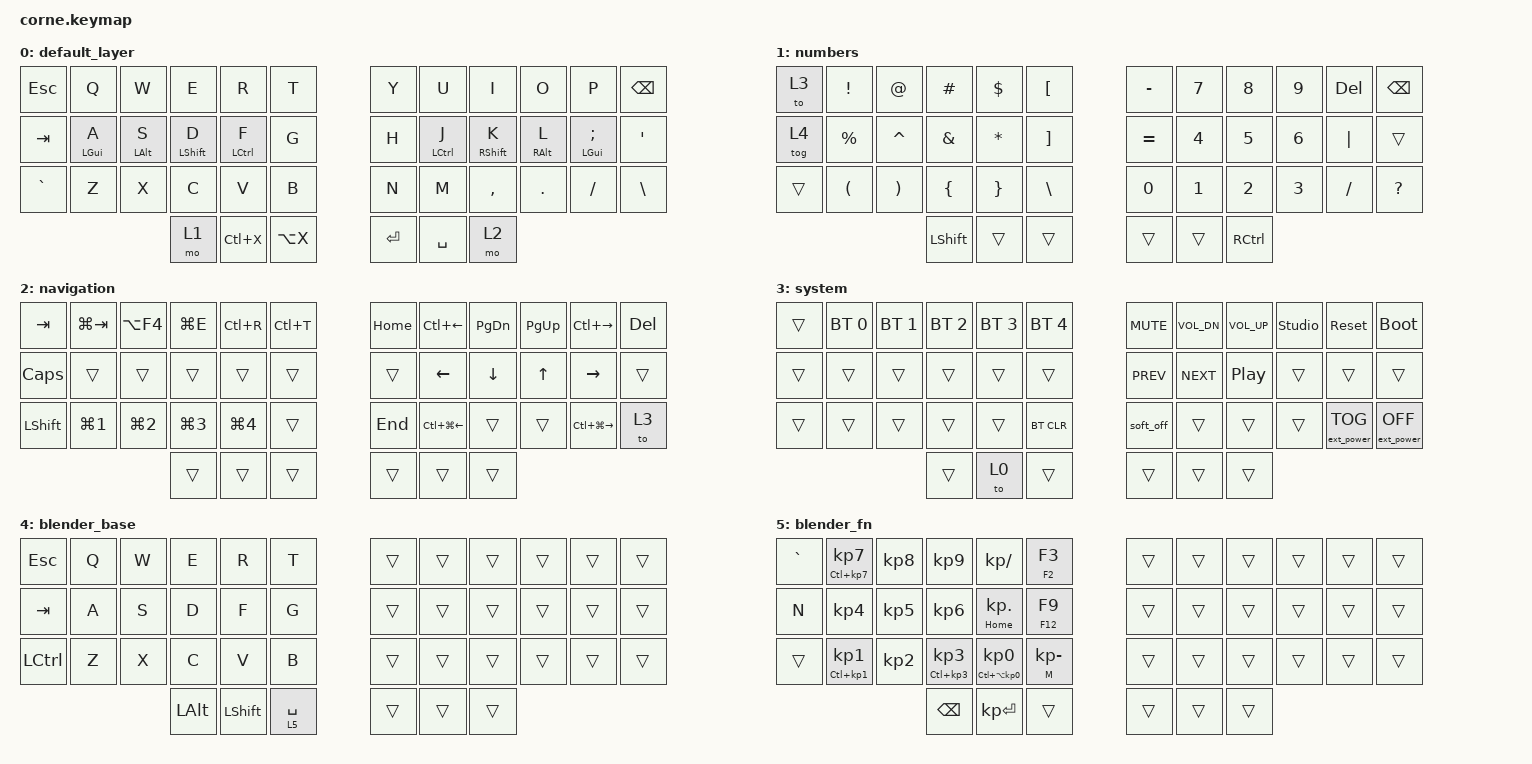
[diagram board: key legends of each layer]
/*
* Copyright (c) 2020 The ZMK Contributors
*
* SPDX-License-Identifier: MIT
*/

#include <behaviors.dtsi>
#include <dt-bindings/zmk/bt.h>
#include <dt-bindings/zmk/ext_power.h>
#include <dt-bindings/zmk/keys.h>

/ {
    behaviors {
        // Balanced homerow mods

        hm: homerow_mods {
            compatible = "zmk,behavior-hold-tap";
            label = "HOMEROW_MODS";
            #binding-cells = <2>;
            tapping-term-ms = <300>;
            quick-tap-ms = <175>;
            flavor = "balanced";
            bindings = <&kp>, <&kp>;
        };

        // Balanced layer-tap for Blender fn layer (instant hold when rolling into numpad/views)

        blt: blender_layer_tap {
            compatible = "zmk,behavior-hold-tap";
            #binding-cells = <2>;
            tapping-term-ms = <200>;
            quick-tap-ms = <150>;
            flavor = "balanced";
            bindings = <&mo>, <&kp>;
        };

        // Tap-preferred hold-tap for Blender views (tap = primary/numpad, hold = opposite/secondary)

        bv: blender_view {
            compatible = "zmk,behavior-hold-tap";
            #binding-cells = <2>;
            tapping-term-ms = <200>;
            quick-tap-ms = <150>;
            flavor = "tap-preferred";
            bindings = <&kp>, <&kp>;
        };

        // Layer cycling tap dance: 0→1→2→3→4→0
        /* layer_td: layer_tap_dance { */
        /*     compatible = "zmk,behavior-tap-dance"; */
        /*     label = "LAYER_TAP_DANCE"; */
        /*     #binding-cells = <0>; */
        /*     tapping-term-ms = <300>; */
        /*     bindings = <&to 1>, <&to 2>, <&to 3>, <&to 4>, <&to 0>; */
        /* }; */
    };

    combos {
        compatible = "zmk,combos";

        // Toggle Blender mode one-handed from Default or Blender Base (ESC + Q)

        combo_blender_toggle {
            timeout-ms = <40>;
            key-positions = <0 1>;
            layers = <0 4>;
            bindings = <&tog 4>;
        };

        // Blender-only left-hand combos (active only on Layer 4: blender_base)

        combo_bl_vtx {
            timeout-ms = <40>;
            key-positions = <2 3>;  // W + E -> Vertex Select
            layers = <4>;
            bindings = <&kp N1>;
        };

        combo_bl_edge {
            timeout-ms = <40>;
            key-positions = <3 4>;  // E + R -> Edge Select
            layers = <4>;
            bindings = <&kp N2>;
        };

        combo_bl_face {
            timeout-ms = <40>;
            key-positions = <4 5>;  // R + T -> Face Select
            layers = <4>;
            bindings = <&kp N3>;
        };

        combo_bl_enter {
            timeout-ms = <40>;
            key-positions = <15 16>;  // D + F -> Confirm
            layers = <4>;
            bindings = <&kp ENTER>;
        };

        combo_bl_merge {
            timeout-ms = <40>;
            key-positions = <16 17>;  // F + G -> Merge / Move to Collection
            layers = <4>;
            bindings = <&kp M>;
        };

        combo_bl_undo {
            timeout-ms = <40>;
            key-positions = <25 26>;  // Z + X -> Undo
            layers = <4>;
            bindings = <&kp LC(Z)>;
        };

        combo_bl_redo {
            timeout-ms = <40>;
            key-positions = <26 27>;  // X + C -> Redo
            layers = <4>;
            bindings = <&kp LC(LS(Z))>;
        };

        combo_bl_y {
            timeout-ms = <40>;
            key-positions = <27 28>;  // C + V -> Y-Axis
            layers = <4>;
            bindings = <&kp Y>;
        };

        combo_bl_hide {
            timeout-ms = <40>;
            key-positions = <28 29>;  // V + B -> Hide
            layers = <4>;
            bindings = <&kp H>;
        };
    };

    keymap {
        compatible = "zmk,keymap";

        default_layer {
            // -----------------------------------------------------------------------------------------
            // |  ESC |  Q  |  W  |  E  |  R  |  T  |   |  Y  |  U   |  I  |  O  |  P  | BSPC |
            // | TAB  | A/LCTRL | S/LALT | D/LSHFT | F/LGUI | G |   | H | J/RGUI | K/RSHFT | L/RALT | ;/RCTRL | ' |
            // | CTRL |  Z  |  X  |  C  |  V  |  B  |   |  N  |  M   |  ,  |  .  |  /  | ` |
            //                    | DEL | LYR | SPC |   | RET | ALT  | CTL |

            bindings = <
&kp ESCAPE  &kp Q           &kp W           &kp E        &kp R               &kp T        &kp Y      &kp U               &kp I        &kp O       &kp P              &kp BACKSPACE
&kp TAB     &hm LEFT_GUI A  &hm LEFT_ALT S  &hm LSHFT D  &hm LEFT_CONTROL F  &kp G        &kp H      &hm LEFT_CONTROL J  &hm RSHFT K  &hm RALT L  &hm LEFT_GUI SEMI  &kp SINGLE_QUOTE
&kp GRAVE   &kp Z           &kp X           &kp C        &kp V               &kp B        &kp N      &kp M               &kp COMMA    &kp DOT     &kp FSLH           &kp BACKSLASH
                                            &mo 1        &kp LC(X)           &kp LA(X)    &kp ENTER  &kp SPACE           &mo 2
            >;
        };

        numbers {
            // -----------------------------------------------------------------------------------------
            // |  `   |  !  |  @  |  #  |  $  |  %  |   |  ^  |  &  |  *  |  (  |  )  |  -   |
            // |  -   |  1  |  2  |  3  |  4  |  5  |   |  6  |  7  |  8  |  9  |  0  |  =   |
            // | SHFT |  [  |  ]  |  {  |  }  |  \  |   |  -  |  _  |  +  |  |  |  /  |  ?   |
            //                    |  -  | LYR |  -  |   |  -  |  -  |  -  |

            bindings = <
&to 3   &kp EXCLAMATION       &kp AT_SIGN            &kp POUND       &kp DOLLAR       &kp LEFT_BRACKET     &kp MINUS  &kp N7        &kp N8        &kp N9        &kp DELETE  &kp BACKSPACE
&tog 4  &kp PERCENT           &kp CARET              &kp AMPERSAND   &kp ASTERISK     &kp RIGHT_BRACKET    &kp EQUAL  &kp NUMBER_4  &kp N5        &kp NUMBER_6  &kp PIPE    &trans
&trans  &kp LEFT_PARENTHESIS  &kp RIGHT_PARENTHESIS  &kp LEFT_BRACE  &kp RIGHT_BRACE  &kp BACKSLASH        &kp N0     &kp NUMBER_1  &kp NUMBER_2  &kp NUMBER_3  &kp FSLH    &kp QUESTION
                                                     &kp LEFT_SHIFT  &trans           &trans               &trans     &trans        &kp RCTRL
            >;
        };

        navigation {
            // -----------------------------------------------------------------------------------------
            // | TAB  |CMD+TAB| ALT+F4| WIN+E| WIN+R | WIN+T|   |PGUP | HOME|  UP  | END  | PRNT | DEL  |
            // |CAPS  | WIN+1 | WIN+2 | WIN+3| WIN+4 | WIN+G|   |PGDN | LEFT| DOWN |RIGHT | WIN↑ | WIN↵ |
            // |SHIFT | UNDO  | CUT   | COPY | PASTE | WIN+L|   |WIN← |CTRL←|CTRL→ |WIN→  | ALT← | ALT→ |
            //                        |  -  | LYR   |  -   |   |  -  |  -  |  -   |

            bindings = <
&kp TAB    &kp LG(TAB)       &kp LA(F4)        &kp LG(E)         &kp LC(R)         &kp LC(T)    &kp HOME  &kp LC(LEFT)      &kp PAGE_DOWN   &kp PAGE_UP   &kp LC(RIGHT)      &kp DELETE
&kp CAPS   &trans            &trans            &trans            &trans            &trans       &trans    &kp LEFT_ARROW    &kp DOWN_ARROW  &kp UP_ARROW  &kp RIGHT          &trans
&kp LSHFT  &kp LG(NUMBER_1)  &kp LG(NUMBER_2)  &kp LG(NUMBER_3)  &kp LG(NUMBER_4)  &trans       &kp END   &kp LC(LG(LEFT))  &trans          &trans        &kp LC(LG(RIGHT))  &to 3
                                               &trans            &trans            &trans       &trans    &trans            &trans
            >;
        };

        system {
            // -----------------------------------------------------------------------------------------
            // |      | BT1 | BT2 | BT3 | BT4 | BT5 |   |MUTE |VOL- |VOL+ |UNLOCK|RESET |BOOTLD|
            // |      |RGBBR+|RGBBR-|RGBHU+|RGBHU-|RGBSA+|PREV |NEXT |PLAY |RGBSA-|RGBEF+|RGBEF-|
            // |      |     |     |     |     |BTCLR|   |SOFTOFF|   |     |     | EPTOG| EPOFF|
            //                    |  -  | LYR |  -  |   |  -  |  -  |  -  |

            bindings = <
&trans  &bt BT_SEL 0  &bt BT_SEL 1  &bt BT_SEL 2  &bt BT_SEL 3  &bt BT_SEL 4    &kp C_MUTE  &kp C_VOL_DN  &kp C_VOL_UP  &studio_unlock  &sys_reset         &bootloader
&trans  &trans        &trans        &trans        &trans        &trans          &kp C_PREV  &kp C_NEXT    &kp C_PP      &trans          &trans             &trans
&trans  &trans        &trans        &trans        &trans        &bt BT_CLR      &soft_off   &trans        &trans        &trans          &ext_power EP_TOG  &ext_power EP_OFF
                                    &trans        &to 0         &trans          &trans      &trans        &trans
            >;
        };

        blender_base {
            // -----------------------------------------------------------------------------------------
            // | ESC  |  Q  |  W  |  E  |  R  |  T  |   |  -  |  -  |  -  |  -  |  -  |  -  |
            // | TAB  |  A  |  S  |  D  |  F  |  G  |   |  -  |  -  |  -  |  -  |  -  |  -  |
            // | LCTL |  Z  |  X  |  C  |  V  |  B  |   |  -  |  -  |  -  |  -  |  -  |  -  |
            //                    |LALT |LSHFT|L5/SP|   |  -  |  -  |  -  |

            bindings = <
&kp ESCAPE  &kp Q  &kp W  &kp E     &kp R      &kp T           &trans  &trans  &trans  &trans  &trans  &trans
&kp TAB     &kp A  &kp S  &kp D     &kp F      &kp G           &trans  &trans  &trans  &trans  &trans  &trans
&kp LCTRL   &kp Z  &kp X  &kp C     &kp V      &kp B           &trans  &trans  &trans  &trans  &trans  &trans
                          &kp LALT  &kp LSHFT  &blt 5 SPACE    &trans  &trans  &trans
            >;
        };

        blender_fn {
            // -----------------------------------------------------------------------------------------
            // |  `   | KP7/Btm | KP8   | KP9     | KP/ (Iso) | F3/F2  |   |  -  |  -  |  -  |  -  |  -  |  -  |
            // |  N   | KP4     | KP5   | KP6     | KP./All   | F9/F12 |   |  -  |  -  |  -  |  -  |  -  |  -  |
            // | LCTL | KP1/Bck | KP2   | KP3/Lft | KP0/Cam   | KP-/M  |   |  -  |  -  |  -  |  -  |  -  |  -  |
            //                          | BSPC    | KP_ENTER  |  ---   |   |  -  |  -  |  -  |

            bindings = <
&kp GRAVE  &bv LC(KP_N7) KP_N7  &kp KP_N8  &kp KP_N9            &kp KP_SLASH             &bv F2 F3       &trans  &trans  &trans  &trans  &trans  &trans
&kp N      &kp KP_N4            &kp KP_N5  &kp KP_N6            &bv HOME KP_DOT          &bv F12 F9      &trans  &trans  &trans  &trans  &trans  &trans
&trans     &bv LC(KP_N1) KP_N1  &kp KP_N2  &bv LC(KP_N3) KP_N3  &bv LC(LA(KP_N0)) KP_N0  &bv M KP_MINUS  &trans  &trans  &trans  &trans  &trans  &trans
                                           &kp BACKSPACE        &kp KP_ENTER             &trans          &trans  &trans  &trans
            >;
        };
    };
};
